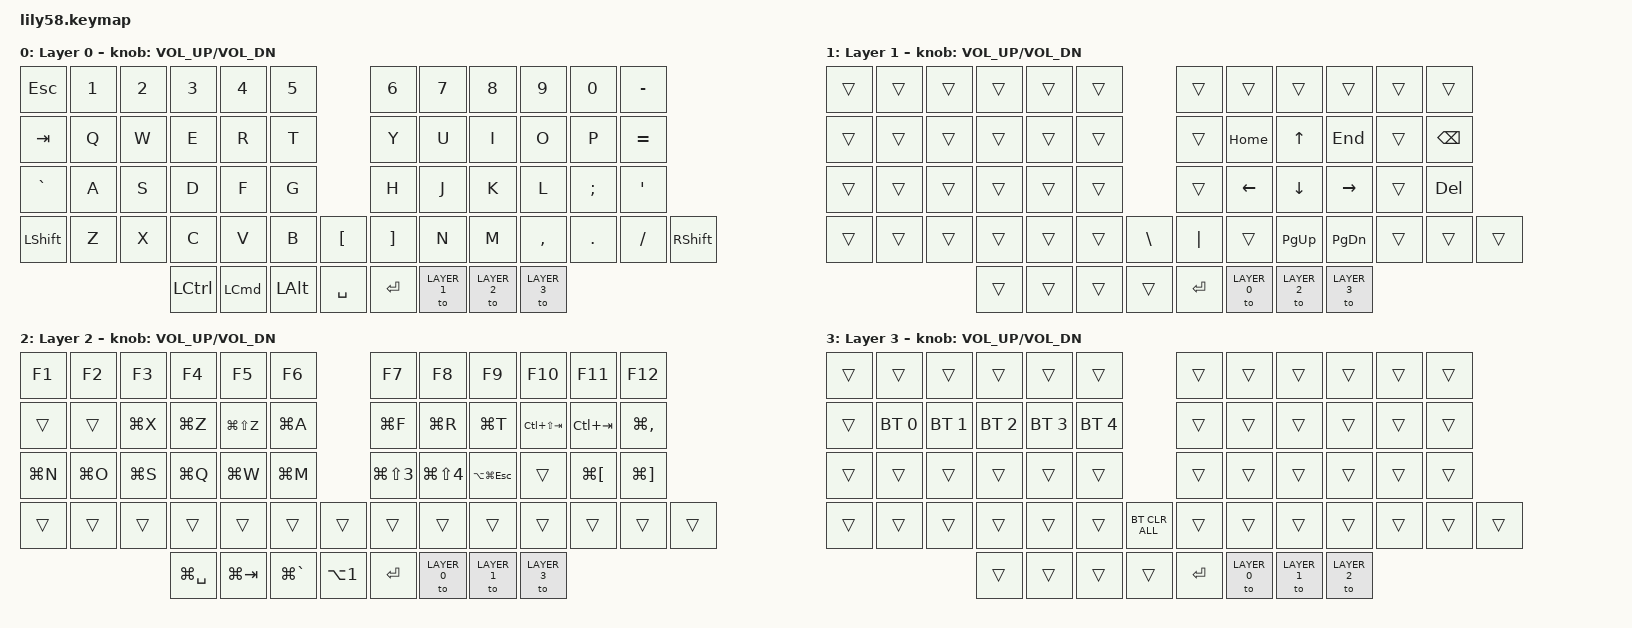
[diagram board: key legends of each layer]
/*
 * Copyright (c) 2020 The ZMK Contributors
 *
 * SPDX-License-Identifier: MIT
 */

#include <behaviors.dtsi>
#include <dt-bindings/zmk/bt.h>
#include <dt-bindings/zmk/keys.h>

#define LAYER_0 0
#define LAYER_1 1
#define LAYER_2 2
#define LAYER_3 3

/ {
    behavior_tap {
        tapping-term-ms = <800>;
    };
};

/ {
    keymap {
        compatible = "zmk,keymap";

        default_layer {
            // ------------------------------------------------------------------------------------------------------------
            // |  ESC  |  1  |  2  |  3  |  4  |  5  |                   |  6  |  7  |  8  |  9  |  0  |  -  |
            // |  TAB  |  Q  |  W  |  E  |  R  |  T  |                   |  Y  |  U  |  I  |  O  |  P  |  =  |
            // |   `   |  A  |  S  |  D  |  F  |  G  |                   |  H  |  J  |  K  |  L  |  ;  |  '  |
            // | SHIFT |  Z  |  X  |  C  |  V  |  B  |   [   |  |   ]    |  N  |  M  |  ,  |  .  |  /  |SHIFT|
            //                     |CTRL | CMD | ALT | SPACE |  |ENTER |  1  |  2  |  3  |

            display-name = "Layer 0";
            bindings = <
&kp ESC           &kp NUMBER_1      &kp NUMBER_2      &kp NUMBER_3      &kp NUMBER_4      &kp NUMBER_5                          &kp NUMBER_6      &kp NUMBER_7      &kp NUMBER_8      &kp NUMBER_9      &kp NUMBER_0      &kp MINUS
&kp TAB           &kp Q             &kp W             &kp E             &kp R             &kp T                                 &kp Y             &kp U             &kp I             &kp O             &kp P             &kp EQUAL
&kp GRAVE         &kp A             &kp S             &kp D             &kp F             &kp G                                 &kp H             &kp J             &kp K             &kp L             &kp SEMI          &kp SINGLE_QUOTE
&kp LEFT_SHIFT    &kp Z             &kp X             &kp C             &kp V             &kp B             &kp LEFT_BRACKET  &kp RIGHT_BRACKET  &kp N             &kp M             &kp COMMA         &kp DOT           &kp SLASH         &kp RIGHT_SHIFT
                                                    &kp LEFT_CONTROL  &kp LEFT_COMMAND  &kp LEFT_ALT       &kp SPACE          &kp RET           &to LAYER_1       &to LAYER_2       &to LAYER_3
            >;

            sensor-bindings = <&inc_dec_kp C_VOL_UP C_VOL_DN>;
        };

        layer_1 {
            // ------------------------------------------------------------------------------------------------------------
            // |      |      |      |      |      |      |                   |      | HOME |  UP  | END  |      | BSPC |
            // |      |      |      |      |      |      |                   |      | LEFT | DOWN |RIGHT |      | DEL  |
            // |      |      |      |      |      |      |                   |      |      |      |      |      |      |
            // |      |      |      |      |      |      |   \   |  |   |    |      | PGUP | PGDN |      |      |      |
            //                     |     |     |     |      |  |ENTER |  0  |  2  |  3  |

            display-name = "Layer 1";
            bindings = <
&trans            &trans            &trans            &trans            &trans            &trans                               &trans            &trans            &trans            &trans            &trans            &trans
&trans            &trans            &trans            &trans            &trans            &trans                               &trans            &kp HOME          &kp UP_ARROW      &kp END           &trans            &kp BACKSPACE
&trans            &trans            &trans            &trans            &trans            &trans                               &trans            &kp LEFT_ARROW    &kp DOWN_ARROW    &kp RIGHT_ARROW   &trans            &kp DELETE
&trans            &trans            &trans            &trans            &trans            &trans            &kp BACKSLASH     &kp PIPE           &trans            &kp PAGE_UP       &kp PAGE_DOWN     &trans            &trans            &trans
                                                    &trans            &trans            &trans             &trans             &kp RET           &to LAYER_0       &to LAYER_2       &to LAYER_3
            >;

            sensor-bindings = <&inc_dec_kp C_VOL_UP C_VOL_DN>;
        };

        layer_2 {
            // ------------------------------------------------------------------------------------------------------------
            // | F1   | F2   | F3   | F4   | F5   | F6   |                   | F7   | F8   | F9   | F10  | F11  | F12  |
            // |      |      | CUT  | UNDO | REDO | ALL  |                   | FIND | RFSH | NTAB | TPRV | TNXT | PREF |
            // | NEW  | OPEN | SAVE | QUIT | CLOS | MINI |                   | SS3  | SS4  | FQIT |      | BACK | FWD  |
            // |      |      |      |      |      |      |       |  |        |      |      |      |      |      |      |
            //                     | SPOT | APSW | WNXT | ALT1 |  |ENTER |  0  |  1  |  3  |

            display-name = "Layer 2";
            bindings = <
&kp F1            &kp F2            &kp F3            &kp F4            &kp F5            &kp F6                                &kp F7            &kp F8            &kp F9            &kp F10           &kp F11           &kp F12
&trans            &trans           &kp LG(X)        &kp LG(Z)        &kp LG(LS(Z))    &kp LG(A)                             &kp LG(F)         &kp LG(R)         &kp LG(T)         &kp LC(LS(TAB))   &kp LC(TAB)       &kp LG(COMMA)
&kp LG(N)         &kp LG(O)        &kp LG(S)        &kp LG(Q)        &kp LG(W)        &kp LG(M)                             &kp LG(LS(NUMBER_3)) &kp LG(LS(NUMBER_4)) &kp LA(LG(ESC)) &trans            &kp LG(LEFT_BRACKET) &kp LG(RIGHT_BRACKET)
&trans            &trans            &trans            &trans            &trans            &trans            &trans            &trans             &trans            &trans            &trans            &trans            &trans            &trans
                                                    &kp LG(SPACE)    &kp LG(TAB)      &kp LG(GRAVE)       &kp LA(NUMBER_1)  &kp RET           &to LAYER_0       &to LAYER_1       &to LAYER_3
            >;

            sensor-bindings = <&inc_dec_kp C_VOL_UP C_VOL_DN>;
        };

        layer_3 {
            // ------------------------------------------------------------------------------------------------------------
            // |      |      |      |      |      |      |                   |      |      |      |      |      |      |
            // |      | BT1  | BT2  | BT3  | BT4  | BT5  |                   |      |      |      |      |      |      |
            // |      |      |      |      |      |      |                   |      |      |      |      |      |      |
            // |      |      |      |      |      |      |  CLR  |  |        |      |      |      |      |      |      |
            //                     |     |     |     |      |  |ENTER |  0  |  1  |  2  |

            display-name = "Layer 3";
            bindings = <
&trans            &trans            &trans            &trans            &trans            &trans                               &trans            &trans            &trans            &trans            &trans            &trans
&trans            &bt BT_SEL 0      &bt BT_SEL 1      &bt BT_SEL 2      &bt BT_SEL 3      &bt BT_SEL 4                         &trans            &trans            &trans            &trans            &trans            &trans
&trans            &trans            &trans            &trans            &trans            &trans                               &trans            &trans            &trans            &trans            &trans            &trans
&trans            &trans            &trans            &trans            &trans            &trans            &bt BT_CLR_ALL    &trans             &trans            &trans            &trans            &trans            &trans            &trans
                                                    &trans            &trans            &trans             &trans             &kp RET           &to LAYER_0       &to LAYER_1       &to LAYER_2
            >;

            sensor-bindings = <&inc_dec_kp C_VOL_UP C_VOL_DN>;
        };
    };
};
